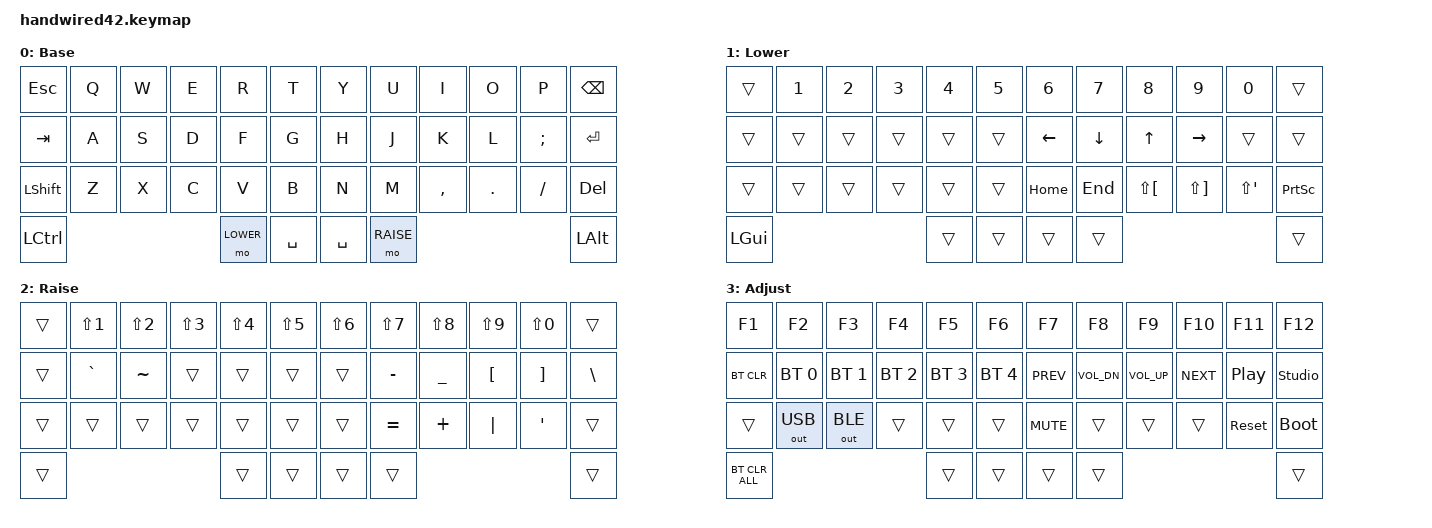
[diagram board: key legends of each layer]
#include <behaviors.dtsi>
#include <dt-bindings/zmk/keys.h>
#include <dt-bindings/zmk/bt.h>
#include <dt-bindings/zmk/outputs.h>

#define BASE   0
#define LOWER  1
#define RAISE  2
#define ADJUST 3

/*
 * Key positions (42 keys):
 *
 *   0  1  2  3  4  5  6  7  8  9 10 11
 *  12 13 14 15 16 17 18 19 20 21 22 23
 *  24 25 26 27 28 29 30 31 32 33 34 35
 *  36          37 38 39 40          41
 *
 * Hold LOWER + RAISE together -> ADJUST layer (Bluetooth, F-keys, media,
 * ZMK Studio unlock, bootloader).
 */

/ {
    conditional_layers {
        compatible = "zmk,conditional-layers";

        tri_layer {
            if-layers = <LOWER RAISE>;
            then-layer = <ADJUST>;
        };
    };

    keymap {
        compatible = "zmk,keymap";

        default_layer {
            display-name = "Base";
            bindings = <
                &kp ESC    &kp Q  &kp W  &kp E  &kp R      &kp T      &kp Y      &kp U      &kp I      &kp O    &kp P     &kp BSPC
                &kp TAB    &kp A  &kp S  &kp D  &kp F      &kp G      &kp H      &kp J      &kp K      &kp L    &kp SEMI  &kp RET
                &kp LSHFT  &kp Z  &kp X  &kp C  &kp V      &kp B      &kp N      &kp M      &kp COMMA  &kp DOT  &kp FSLH  &kp DEL
                &kp LCTRL                       &mo LOWER  &kp SPACE  &kp SPACE  &mo RAISE                                &kp LALT
            >;
        };

        lower_layer {
            display-name = "Lower";
            bindings = <
                &trans     &kp N1  &kp N2  &kp N3  &kp N4  &kp N5  &kp N6    &kp N7    &kp N8        &kp N9        &kp N0       &trans
                &trans     &trans  &trans  &trans  &trans  &trans  &kp LEFT  &kp DOWN  &kp UP        &kp RIGHT     &trans       &trans
                &trans     &trans  &trans  &trans  &trans  &trans  &kp HOME  &kp END   &kp LS(LBKT)  &kp LS(RBKT)  &kp LS(SQT)  &kp PSCRN
                &kp LGUI                           &trans  &trans  &trans    &trans                                            &trans
            >;
        };

        raise_layer {
            display-name = "Raise";
            bindings = <
                &trans  &kp LS(N1)  &kp LS(N2)  &kp LS(N3)  &kp LS(N4)  &kp LS(N5)  &kp LS(N6)  &kp LS(N7)  &kp LS(N8)  &kp LS(N9)    &kp LS(N0)  &trans
                &trans  &kp GRAVE   &kp TILDE   &trans      &trans      &trans      &trans      &kp MINUS   &kp UNDER   &kp LBKT      &kp RBKT    &kp BSLH
                &trans  &trans      &trans      &trans      &trans      &trans      &trans      &kp EQUAL   &kp PLUS    &kp PIPE      &kp SQT     &trans
                &trans                                      &trans      &trans      &trans      &trans                                            &trans
            >;
        };

        adjust_layer {
            display-name = "Adjust";
            bindings = <
                &kp F1          &kp F2        &kp F3        &kp F4        &kp F5        &kp F6        &kp F7        &kp F8          &kp F9          &kp F10      &kp F11      &kp F12
                &bt BT_CLR      &bt BT_SEL 0  &bt BT_SEL 1  &bt BT_SEL 2  &bt BT_SEL 3  &bt BT_SEL 4  &kp C_PREV    &kp C_VOL_DN    &kp C_VOL_UP    &kp C_NEXT   &kp C_PP     &studio_unlock
                &trans          &out OUT_USB  &out OUT_BLE  &trans        &trans        &trans        &kp C_MUTE    &trans          &trans          &trans       &sys_reset   &bootloader
                &bt BT_CLR_ALL                                            &trans        &trans        &trans        &trans                                                    &trans
            >;
        };
    };
};
